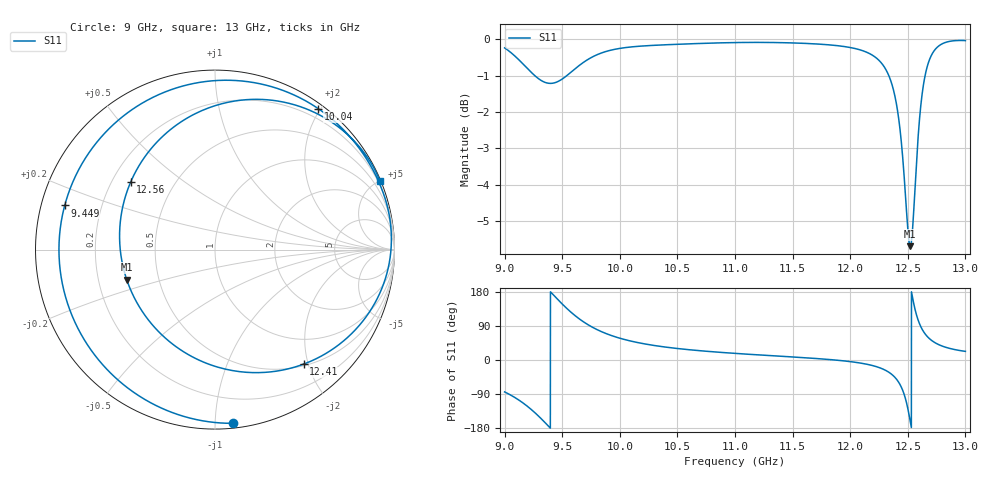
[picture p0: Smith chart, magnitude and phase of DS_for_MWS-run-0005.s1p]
! TOUCHSTONE file generated by CST DESIGN STUDIO
! Date and time: Tue Feb  4 15:51:10 2025
! Project name: C:\Work\MatlabApps\UnitCellOptimizationMatlab\CST\unitcell.cst
! Tree item: Tasks\Sweep1\SPara1\S-Parameters
! Header version: 2024
! Port assignment regex: !\s*Touchstone port\s*([0-9]+)\s*=\s*(CST MWS port|CST DES external port|CST DES block port)\s*(.+)\s* \(\"(.*)\"\)(\s*mode\s*([0-9]+))?.*
! Touchstone port assignment:
! Touchstone port 1 = CST DES external port 1 ("")
# GHz S MA R 50
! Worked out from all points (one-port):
!   4001 points, 9 GHz to 13 GHz, reference 50 ohm
!   lowest |S11| = -5.7 dB at 12.52 GHz (marker M1), VSWR 3.16, Z = 16.2 - j7.4 ohm
!   |S11| at or under -10 dB: nowhere
!   S11 on the Smith chart (normalised r, x): 9 GHz: 0.03, -1.11; 9.449 GHz: 0.07, +0.14; 10.04 GHz: 0.07, +1.97; 12.41 GHz: 0.53, -1.92; 12.56 GHz: 0.28, +0.33; 13 GHz: 0.06, +4.97
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9  0.9728 -84.2
9.118  0.9387 -104.6
9.22  0.9041 -127.7
9.345  0.873 -163.3
9.449  0.8727 163.6
9.5  0.8815 147.8
9.596  0.9062 121.0
9.696  0.9319 98.5
9.843  0.9576 74.5
10  0.9712 57.5
10.045  0.9735 53.7
10.5  0.9839 30.3
11  0.9893 17.5
11.5  0.9882 8.0
12  0.9739 -4.2
12.275  0.9257 -22.7
12.35  0.8787 -35.4
12.406  0.8068 -52.3
12.46  0.6749 -83.4
12.5  0.5488 -127.8
12.521  0.5195 -161.3
12.557  0.602 141.3
12.586  0.7203 108.7
12.616  0.8191 86.1
12.663  0.9099 64.1
12.716  0.9572 49.6
12.825  0.9895 34.0
13  0.9956 22.7
